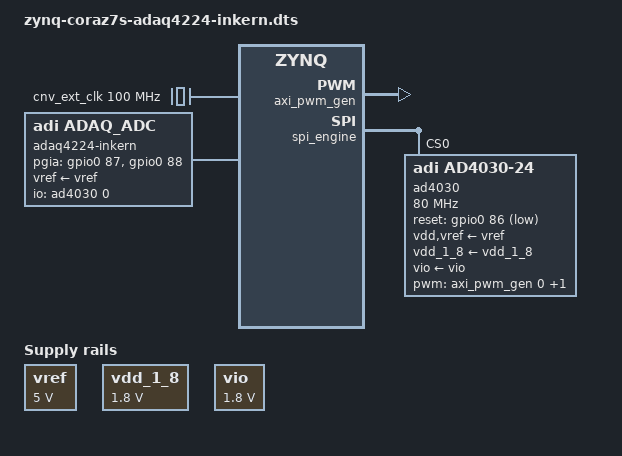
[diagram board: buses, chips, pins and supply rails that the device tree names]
// SPDX-License-Identifier: GPL-2.0
/*
 * Analog Devices ADAQ4224
 *
 * hdl_project: <pulsar_adc_pmdz/coraz7s>
 * board_revision: <A>
 *
 * Copyright (C) 2023 Analog Devices Inc.
 */
/dts-v1/;
#include "zynq-coraz7s.dtsi"
#include <dt-bindings/interrupt-controller/irq.h>
#include <dt-bindings/gpio/gpio.h>
#include <dt-bindings/pwm/pwm.h>

/ {
	vref: regulator-vref {
		compatible = "regulator-fixed";
		regulator-name = "fixed-supply";
		regulator-min-microvolt = <5000000>;
		regulator-max-microvolt = <5000000>;
		regulator-always-on;
	};

	vdd_1_8: regulator-vdd-1-8 {
		compatible = "regulator-fixed";
		regulator-name = "fixed-supply";
		regulator-min-microvolt = <1800000>;
		regulator-max-microvolt = <1800000>;
		regulator-always-on;
	};

	vio: regulator-vio {
		compatible = "regulator-fixed";
		regulator-name = "fixed-supply";
		regulator-min-microvolt = <1800000>;
		regulator-max-microvolt = <1800000>;
		regulator-always-on;
	};

	clocks {
		cnv_ext_clk: ext-clk {
			#clock-cells = <0x0>;
			compatible = "fixed-clock";
			clock-frequency = <100000000>;
			clock-output-names = "cnv_ext_clk";
		};
	};

	adaq4224-inkern {
		compatible = "adi,adaq_adc";
		adi,pgia-gpios = <&gpio0 87 GPIO_ACTIVE_HIGH>,
				 <&gpio0 88 GPIO_ACTIVE_HIGH>;
		//Only ADC support now
		io-channels = <&ad4030 0>;
		io-channel-names = "adc";

		//io-channels = <&adc 0 1>;
		//io-channel-names = "adc1 adc2";
		//io-channels = <&adc 0 1 &temp 0>;
		//io-channel-names = "adc1 adc2 temp";

		//For integrated temp support
		//io-channels = <&adaq4224 0 &max31827 0>;
		//io-channel-names = "adc temp";

		//adi,adc = <&adc>
		//adi,temp = <&temp>

		//mux-gpios = <&gpio0 0 GPIO_ACTIVE_LOW>;

		vref-supply = <&vref>;
	};
};

&fpga_axi {

	//i2c@44c00000 {
	//	compatible = "xlnx,axi-iic-1.01.b", "xlnx,xps-iic-2.00.a";
	//	reg = <0x44c00000 0x10000>;
	//	interrupt-parent = <&intc>;
	//	interrupts = <0 54 IRQ_TYPE_LEVEL_HIGH>;
	//	clocks = <&clkc 15>;
	//	clock-names = "pclk";

	//	#size-cells = <0>;
	//	#address-cells = <1>;

	//	max31827: max31827@5f {
	//		compatible = "adi,max31827";
	//		reg = <0x5f>;
	//		vref-supply = <&vio>;
	//
	//		#io-channel-cells = <1>;
	//	};
	//};

	axi_pwm_gen: axi-pwm-gen@0x44b00000 {
		compatible = "adi,axi-pwmgen";
		reg = <0x44b00000 0x1000>;
		label = "ad463x_cnv";
		#pwm-cells = <2>;
		clocks = <&cnv_ext_clk>;
	};

	spi_engine: spi@44a00000 {
		compatible = "adi,axi-spi-engine-1.00.a";
		reg = <0x44a00000 0x10000>;
		interrupt-parent = <&intc>;
		interrupts = <0 56 IRQ_TYPE_LEVEL_HIGH>;
		clocks = <&clkc 15 &spi_clk>;
		clock-names = "s_axi_aclk", "spi_clk";
		num-cs = <1>;

		#address-cells = <0x1>;
		#size-cells = <0x0>;

		ad4030: ad4030@0 {
			compatible = "adi,ad4030-24";
			reg = <0>;
			vdd-supply = <&vref>;
			vdd_1_8-supply = <&vdd_1_8>;
			vio-supply = <&vio>;
			vref-supply = <&vref>;
			spi-max-frequency = <80000000>;
			reset-gpios = <&gpio0 86 GPIO_ACTIVE_LOW>;
			adi,lane-mode = <1>;
			adi,clock-mode = <1>;
			adi,out-data-mode = <0>;
			adi,dual-data-rate;
			//adi,spi-trigger;

			clocks = <&cnv_ext_clk>;
			clock-names = "trigger_clock";

			dmas = <&rx_dma 0>;
			dma-names = "rx";

			//pwm-names = "spi_trigger", "cnv";
			pwm-names = "cnv";
			pwms = <&axi_pwm_gen 0 0>, <&axi_pwm_gen 1 0>;

			#io-channel-cells = <1>;
		};
	};

	rx_dma: rx-dmac@44a30000 {
		compatible = "adi,axi-dmac-1.00.a";
		reg = <0x44a30000 0x1000>;
		#dma-cells = <1>;
		interrupt-parent = <&intc>;
		interrupts = <0 57 IRQ_TYPE_LEVEL_HIGH>;
		clocks = <&clkc 16>;

		adi,channels {
			#size-cells = <0>;
			#address-cells = <1>;

			dma-channel@0 {
				reg = <0>;
				adi,source-bus-width = <32>;
				adi,source-bus-type = <1>;
				adi,destination-bus-width = <64>;
				adi,destination-bus-type = <0>;
			};
		};
	};

	spi_clk: axi-clkgen@0x44a70000 {
		compatible = "adi,axi-clkgen-2.00.a";
		reg = <0x44a70000 0x10000>;
		#clock-cells = <0>;
		clocks = <&clkc 15>, <&clkc 15>;
		clock-names = "s_axi_aclk", "clkin1";
		clock-output-names = "spi_clk";
	};

};
